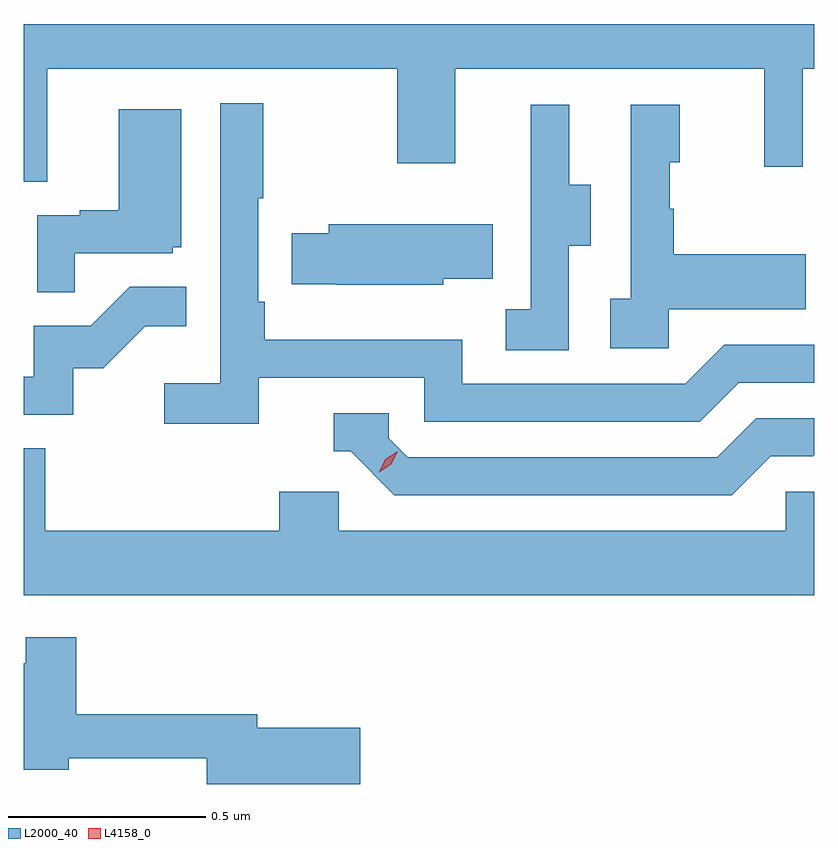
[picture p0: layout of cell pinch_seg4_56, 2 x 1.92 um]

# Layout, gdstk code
import gdstk
lib = gdstk.Library(unit=1e-6, precision=1e-09)
def P(c, l, *ps):  # polygons
    for p in ps: c.add(gdstk.Polygon(p, *l))
L2000_40 = (2000, 40)
L4158_0 = (4158, 0)

pinch_seg4_56 = lib.new_cell('pinch_seg4_56')
P(pinch_seg4_56, L2000_40, [(1046.281,830.12),(1047.166,830.12),(1047.166,829.881),(1047.313,829.881),(1047.313,830.12),(1048.094,830.12),(1048.094,829.872),(1048.191,829.872),(1048.191,830.12),(1048.221,830.12),(1048.221,830.233),(1046.221,830.233),(1046.221,829.834),(1046.281,829.834)],
  [(1046.816,829.338),(1047.234,829.338),(1047.234,829.227),(1047.931,829.227),(1048.03,829.326),(1048.221,829.326),(1048.221,829.422),(1047.993,829.422),(1047.894,829.323),(1047.33,829.323),(1047.33,829.435),(1046.831,829.435),(1046.831,829.531),(1046.814,829.531),(1046.814,829.792),(1046.827,829.792),(1046.827,830.032),(1046.718,830.032),(1046.718,829.324),(1046.577,829.324),(1046.577,829.222),(1046.816,829.222)],
  [(1047.852,829.511),(1048.199,829.511),(1048.199,829.651),(1047.865,829.651),(1047.865,829.766),(1047.855,829.766),(1047.855,829.884),(1047.88,829.884),(1047.88,830.029),(1047.756,830.029),(1047.756,829.538),(1047.705,829.538),(1047.705,829.413),(1047.852,829.413)],
  [(1047.6,829.672),(1047.655,829.672),(1047.655,829.827),(1047.601,829.827),(1047.601,830.029),(1047.503,830.029),(1047.503,829.815),(1047.504,829.815),(1047.504,829.511),(1047.441,829.511),(1047.441,829.408),(1047.6,829.408)],
  [(1046.351,829.653),(1046.598,829.653),(1046.598,829.668),(1046.62,829.668),(1046.62,830.017),(1046.462,830.017),(1046.462,829.762),(1046.363,829.762),(1046.363,829.749),(1046.256,829.749),(1046.256,829.555),(1046.351,829.555)],
  [(1047.282,829.589),(1047.407,829.589),(1047.407,829.726),(1046.993,829.726),(1046.993,829.704),(1046.899,829.704),(1046.899,829.575),(1047.01,829.575),(1047.01,829.574),(1047.282,829.574)],
  [(1046.346,829.362),(1046.422,829.362),(1046.529,829.469),(1046.633,829.469),(1046.633,829.568),(1046.489,829.568),(1046.391,829.47),(1046.247,829.47),(1046.247,829.341),(1046.221,829.341),(1046.221,829.245),(1046.346,829.245)],
  [(1048.111,829.14),(1048.218,829.14),(1048.218,829.143),(1048.221,829.143),(1048.221,829.236),(1048.074,829.236),(1047.975,829.137),(1047.192,829.137),(1047.144,829.185),(1047.144,829.248),(1047.005,829.248),(1047.005,829.152),(1047.048,829.152),(1047.159,829.041),(1048.012,829.041)],
  [(1048.221,829.05),(1048.149,829.05),(1048.149,828.952),(1047.018,828.952),(1047.018,829.05),(1046.867,829.05),(1046.867,828.952),(1046.276,828.952),(1046.276,829.16),(1046.221,829.16),(1046.221,828.788),(1048.221,828.788)],
  [(1047.073,828.453),(1046.812,828.453),(1046.812,828.487),(1046.354,828.487),(1046.354,828.682),(1046.226,828.682),(1046.226,828.616),(1046.221,828.616),(1046.221,828.347),(1046.335,828.347),(1046.335,828.376),(1046.684,828.376),(1046.684,828.311),(1047.073,828.311)])
P(pinch_seg4_56, L4158_0, [(1047.12,829.1),(1047.12,829.1),(1047.136,829.132),(1047.167,829.152),(1047.167,829.152),(1047.167,829.152),(1047.151,829.119),(1047.12,829.1)])

lib.write_gds('pinch_seg4_56.gds')
